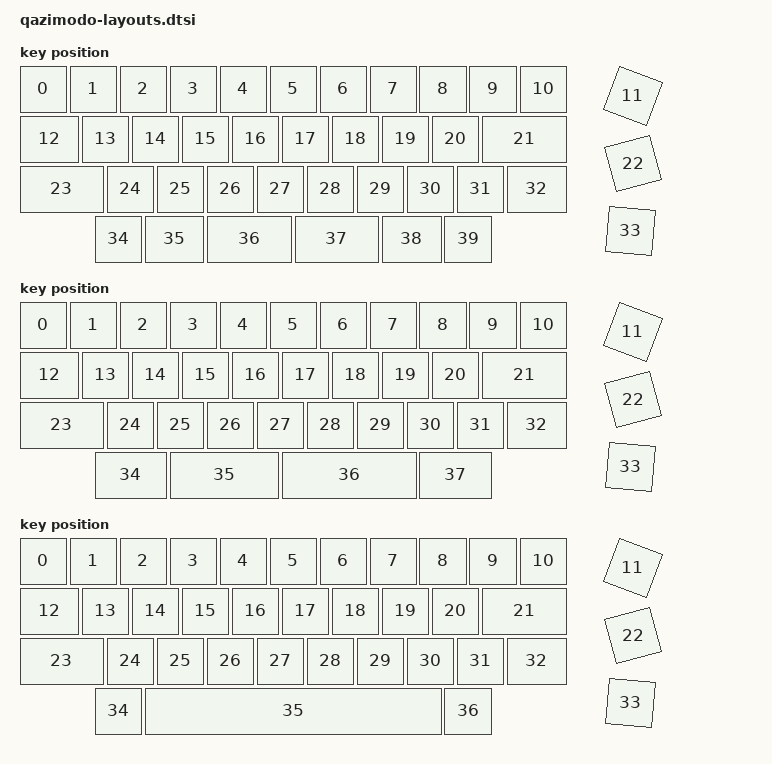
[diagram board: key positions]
/*
 * Copyright (c) 2025 The ZMK Contributors
 *
 * SPDX-License-Identifier: MIT
 */

#include <physical_layouts.dtsi>

/ {
    /omit-if-no-ref/ layout_dual_175u: layout_dual_175u {
        compatible = "zmk,physical-layout";
        display-name = "Dual 1.75u";

        transform = <&transform_dual_175u >;

        keys  //                     w   h    x    y     rot    rx    ry
            = <&key_physical_attrs 100 100    0    0       0     0     0>
            , <&key_physical_attrs 100 100  100    0       0     0     0>
            , <&key_physical_attrs 100 100  200    0       0     0     0>
            , <&key_physical_attrs 100 100  300    0       0     0     0>
            , <&key_physical_attrs 100 100  400    0       0     0     0>
            , <&key_physical_attrs 100 100  500    0       0     0     0>
            , <&key_physical_attrs 100 100  600    0       0     0     0>
            , <&key_physical_attrs 100 100  700    0       0     0     0>
            , <&key_physical_attrs 100 100  800    0       0     0     0>
            , <&key_physical_attrs 100 100  900    0       0     0     0>
            , <&key_physical_attrs 100 100 1000    0       0     0     0>
            , <&key_physical_attrs 100 100 1200    0    2000  1200     0>
            , <&key_physical_attrs 125 100    0  100       0     0     0>
            , <&key_physical_attrs 100 100  125  100       0     0     0>
            , <&key_physical_attrs 100 100  225  100       0     0     0>
            , <&key_physical_attrs 100 100  325  100       0     0     0>
            , <&key_physical_attrs 100 100  425  100       0     0     0>
            , <&key_physical_attrs 100 100  525  100       0     0     0>
            , <&key_physical_attrs 100 100  625  100       0     0     0>
            , <&key_physical_attrs 100 100  725  100       0     0     0>
            , <&key_physical_attrs 100 100  825  100       0     0     0>
            , <&key_physical_attrs 175 100  925  100       0     0     0>
            , <&key_physical_attrs 100 100 1200  100 (-1500)  1425   250>
            , <&key_physical_attrs 175 100    0  200       0     0     0>
            , <&key_physical_attrs 100 100  175  200       0     0     0>
            , <&key_physical_attrs 100 100  275  200       0     0     0>
            , <&key_physical_attrs 100 100  375  200       0     0     0>
            , <&key_physical_attrs 100 100  475  200       0     0     0>
            , <&key_physical_attrs 100 100  575  200       0     0     0>
            , <&key_physical_attrs 100 100  675  200       0     0     0>
            , <&key_physical_attrs 100 100  775  200       0     0     0>
            , <&key_physical_attrs 100 100  875  200       0     0     0>
            , <&key_physical_attrs 125 100  975  200       0     0     0>
            , <&key_physical_attrs 100 100 1200  200     500   275     0>
            , <&key_physical_attrs 100 100  150  300       0     0     0>
            , <&key_physical_attrs 125 100  250  300       0     0     0>
            , <&key_physical_attrs 175 100  375  300       0     0     0>
            , <&key_physical_attrs 175 100  550  300       0     0     0>
            , <&key_physical_attrs 125 100  725  300       0     0     0>
            , <&key_physical_attrs 100 100  850  300       0     0     0>
            ;
    };

    /omit-if-no-ref/ layout_225u_275u: layout_225u_275u {
        compatible = "zmk,physical-layout";
        display-name = "2.25u/2.75u";

        transform = <&transform_225u_275u>;

        keys  //                     w   h    x    y     rot    rx    ry
            = <&key_physical_attrs 100 100    0    0       0     0     0>
            , <&key_physical_attrs 100 100  100    0       0     0     0>
            , <&key_physical_attrs 100 100  200    0       0     0     0>
            , <&key_physical_attrs 100 100  300    0       0     0     0>
            , <&key_physical_attrs 100 100  400    0       0     0     0>
            , <&key_physical_attrs 100 100  500    0       0     0     0>
            , <&key_physical_attrs 100 100  600    0       0     0     0>
            , <&key_physical_attrs 100 100  700    0       0     0     0>
            , <&key_physical_attrs 100 100  800    0       0     0     0>
            , <&key_physical_attrs 100 100  900    0       0     0     0>
            , <&key_physical_attrs 100 100 1000    0       0     0     0>
            , <&key_physical_attrs 100 100 1200    0    2000  1200     0>
            , <&key_physical_attrs 125 100    0  100       0     0     0>
            , <&key_physical_attrs 100 100  125  100       0     0     0>
            , <&key_physical_attrs 100 100  225  100       0     0     0>
            , <&key_physical_attrs 100 100  325  100       0     0     0>
            , <&key_physical_attrs 100 100  425  100       0     0     0>
            , <&key_physical_attrs 100 100  525  100       0     0     0>
            , <&key_physical_attrs 100 100  625  100       0     0     0>
            , <&key_physical_attrs 100 100  725  100       0     0     0>
            , <&key_physical_attrs 100 100  825  100       0     0     0>
            , <&key_physical_attrs 175 100  925  100       0     0     0>
            , <&key_physical_attrs 100 100 1200  100 (-1500)  1425   250>
            , <&key_physical_attrs 175 100    0  200       0     0     0>
            , <&key_physical_attrs 100 100  175  200       0     0     0>
            , <&key_physical_attrs 100 100  275  200       0     0     0>
            , <&key_physical_attrs 100 100  375  200       0     0     0>
            , <&key_physical_attrs 100 100  475  200       0     0     0>
            , <&key_physical_attrs 100 100  575  200       0     0     0>
            , <&key_physical_attrs 100 100  675  200       0     0     0>
            , <&key_physical_attrs 100 100  775  200       0     0     0>
            , <&key_physical_attrs 100 100  875  200       0     0     0>
            , <&key_physical_attrs 125 100  975  200       0     0     0>
            , <&key_physical_attrs 100 100 1200  200     500   275     0>
            , <&key_physical_attrs 150 100  150  300       0     0     0>
            , <&key_physical_attrs 225 100  300  300       0     0     0>
            , <&key_physical_attrs 275 100  525  300       0     0     0>
            , <&key_physical_attrs 150 100  800  300       0     0     0>
            ;
    };

    /omit-if-no-ref/ layout_6u: layout_6u {
        compatible = "zmk,physical-layout";
        display-name = "6u";

        transform = <&transform_6u>;

        keys  //                     w   h    x    y     rot    rx    ry
            = <&key_physical_attrs 100 100    0    0       0     0     0>
            , <&key_physical_attrs 100 100  100    0       0     0     0>
            , <&key_physical_attrs 100 100  200    0       0     0     0>
            , <&key_physical_attrs 100 100  300    0       0     0     0>
            , <&key_physical_attrs 100 100  400    0       0     0     0>
            , <&key_physical_attrs 100 100  500    0       0     0     0>
            , <&key_physical_attrs 100 100  600    0       0     0     0>
            , <&key_physical_attrs 100 100  700    0       0     0     0>
            , <&key_physical_attrs 100 100  800    0       0     0     0>
            , <&key_physical_attrs 100 100  900    0       0     0     0>
            , <&key_physical_attrs 100 100 1000    0       0     0     0>
            , <&key_physical_attrs 100 100 1200    0    2000  1200     0>
            , <&key_physical_attrs 125 100    0  100       0     0     0>
            , <&key_physical_attrs 100 100  125  100       0     0     0>
            , <&key_physical_attrs 100 100  225  100       0     0     0>
            , <&key_physical_attrs 100 100  325  100       0     0     0>
            , <&key_physical_attrs 100 100  425  100       0     0     0>
            , <&key_physical_attrs 100 100  525  100       0     0     0>
            , <&key_physical_attrs 100 100  625  100       0     0     0>
            , <&key_physical_attrs 100 100  725  100       0     0     0>
            , <&key_physical_attrs 100 100  825  100       0     0     0>
            , <&key_physical_attrs 175 100  925  100       0     0     0>
            , <&key_physical_attrs 100 100 1200  100 (-1500)  1425   250>
            , <&key_physical_attrs 175 100    0  200       0     0     0>
            , <&key_physical_attrs 100 100  175  200       0     0     0>
            , <&key_physical_attrs 100 100  275  200       0     0     0>
            , <&key_physical_attrs 100 100  375  200       0     0     0>
            , <&key_physical_attrs 100 100  475  200       0     0     0>
            , <&key_physical_attrs 100 100  575  200       0     0     0>
            , <&key_physical_attrs 100 100  675  200       0     0     0>
            , <&key_physical_attrs 100 100  775  200       0     0     0>
            , <&key_physical_attrs 100 100  875  200       0     0     0>
            , <&key_physical_attrs 125 100  975  200       0     0     0>
            , <&key_physical_attrs 100 100 1200  200     500   275     0>
            , <&key_physical_attrs 100 100  150  300       0     0     0>
            , <&key_physical_attrs 600 100  250  300       0     0     0>
            , <&key_physical_attrs 100 100  850  300       0     0     0>
            ;
    };

    position_map: position_map {
        compatible = "zmk,physical-layout-position-map";

        map_dual_175u {
            physical-layout = <&layout_dual_175u>;
            positions = <34 35 36 37 38 39>;
        };

        map_225u_275u {
            physical-layout = <&layout_225u_275u>;
            positions = <34 38 35 36 39 37>;
        };

        map_6u {
            physical-layout = <&layout_6u>;
            positions = <34 37 35 38 39 36>;
        };
    };
};
